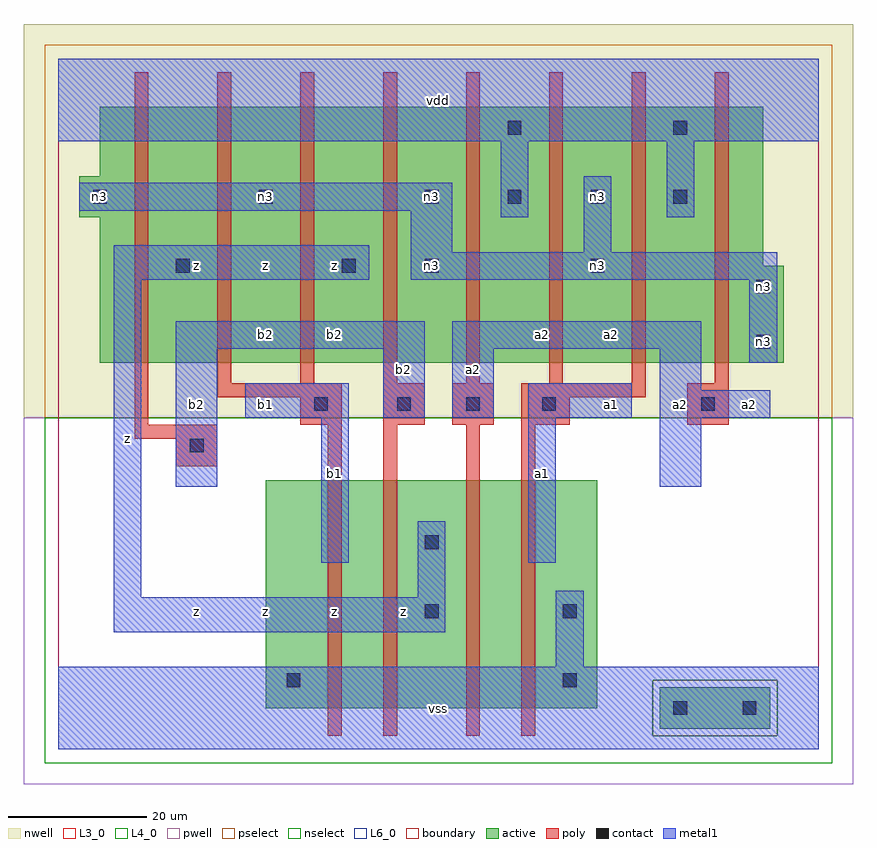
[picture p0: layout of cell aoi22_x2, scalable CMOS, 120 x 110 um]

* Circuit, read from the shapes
.subckt aoi22_x2 a1 a2 b1 b2 n3 vdd vss z
M1 n1 b1 vss vss nfet w=33u l=2u
M2 z b2 n1 vss nfet w=33u l=2u
M3 n2 a2 z vss nfet w=33u l=2u
M4 vss a1 n2 vss nfet w=33u l=2u
M5 z b2 n3 n4 pfet w=37u l=2u m=2
M6 n3 b1 z n4 pfet w=37u l=2u m=2
M7 vdd a2 n3 n4 pfet w=37u l=2u m=2
M8 n3 a1 vdd n4 pfet w=37u l=2u m=2
.ends

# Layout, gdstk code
import gdstk
lib = gdstk.Library(unit=1e-6, precision=1e-09)
def R(c, l, rs):  # rectangles x0, y0, x1, y1
    for r in rs: c.add(gdstk.rectangle(r[:2], r[2:], *l))
def A(c, l, x, y, w, h, nx, ny, dx, dy):  # array of equal rectangles
    R(c, l, [(x+i*dx, y+j*dy, x+i*dx+w, y+j*dy+h) for i in range(nx) for j in range(ny)])
L3_0 = (3, 0)
L4_0 = (4, 0)
L6_0 = (6, 0)
contact = (25, 0)
pwell = (41, 0)
nwell = (42, 0)
active = (43, 0)
pselect = (44, 0)
nselect = (45, 0)
poly = (46, 0)
metal1 = (49, 0)
boundary = (63, 0)

aoi22_x2 = lib.new_cell('aoi22_x2')
R(aoi22_x2, L3_0, [(30,6,78,39)])
R(aoi22_x2, L4_0, [(6,56,105,70), (6,70,102,77), (3,77,102,83), (6,83,102,93)])
R(aoi22_x2, L6_0, [(87,3,103,9)])
A(aoi22_x2, contact, 5, 79, 2, 2, 3, 1, 24, 0)
A(aoi22_x2, contact, 65, 79, 2, 2, 3, 1, 12, 0)
R(aoi22_x2, contact, [(89,5,91,7), (99,5,101,7), (33,9,35,11), (73,9,75,11), (53,19,55,21), (73,19,75,21), (53,29,55,31), (19,43,21,45), (37,49,39,51), (49,49,51,51), (59,49,61,51), (70,49,72,51), (93,49,95,51), (101,58,103,60), (101,66,103,68), (17,69,19,71), (41,69,43,71), (53,69,55,71), (77,69,79,71), (65,89,67,91), (89,89,91,91)])
R(aoi22_x2, pwell, [(-5,-5,115,48)])
R(aoi22_x2, nwell, [(-5,48,115,105)])
R(aoi22_x2, active, [(87,3,103,9), (30,6,78,39), (6,56,105,70), (6,70,102,77), (3,77,102,83), (6,83,102,93)])
R(aoi22_x2, pselect, [(86,2,104,10), (-2,48,112,102)])
R(aoi22_x2, nselect, [(-2,-2,112,2), (-2,2,86,10), (104,2,112,10), (-2,10,112,48)])
A(aoi22_x2, poly, 23, 53, 2, 45, 7, 1, 12, 0)
R(aoi22_x2, poly, [(39,2,41,47), (47,2,49,47), (59,2,61,47), (67,2,69,47), (17,41,23,45), (11,45,23,47), (11,47,13,98), (35,47,41,51), (47,47,53,53), (57,47,63,53), (67,47,74,51), (91,47,97,53), (23,51,41,53), (67,51,85,53)])
R(aoi22_x2, metal1, [(0,0,110,12), (72,12,76,23), (8,17,56,22), (8,22,12,68), (52,22,56,33), (38,27,42,48), (68,27,72,48), (17,38,23,58), (87,38,93,48), (27,48,42,53), (47,48,53,58), (57,48,63,58), (68,48,83,53), (87,48,103,52), (87,52,93,58), (100,56,104,68), (17,58,53,62), (57,58,93,62), (8,68,45,73), (51,68,104,72), (51,72,57,78), (76,72,80,83), (64,77,68,88), (88,77,92,88), (3,78,57,82), (0,88,110,100)])
R(aoi22_x2, boundary, [(0,0,110,100)])
aoi22_x2.add(gdstk.Label('n3', (6,80), layer=49, texttype=0))
aoi22_x2.add(gdstk.Label('n3', (30,80), layer=49, texttype=0))
aoi22_x2.add(gdstk.Label('n3', (54,70), layer=49, texttype=0))
aoi22_x2.add(gdstk.Label('n3', (54,80), layer=49, texttype=0))
aoi22_x2.add(gdstk.Label('n3', (102,67), layer=49, texttype=0))
aoi22_x2.add(gdstk.Label('n3', (102,59), layer=49, texttype=0))
aoi22_x2.add(gdstk.Label('n3', (78,70), layer=49, texttype=0))
aoi22_x2.add(gdstk.Label('n3', (78,80), layer=49, texttype=0))
aoi22_x2.add(gdstk.Label('z', (10,45), layer=49, texttype=0))
aoi22_x2.add(gdstk.Label('z', (40,20), layer=49, texttype=0))
aoi22_x2.add(gdstk.Label('z', (30,20), layer=49, texttype=0))
aoi22_x2.add(gdstk.Label('z', (20,20), layer=49, texttype=0))
aoi22_x2.add(gdstk.Label('b1', (40,40), layer=49, texttype=0))
aoi22_x2.add(gdstk.Label('b2', (20,50), layer=49, texttype=0))
aoi22_x2.add(gdstk.Label('b1', (30,50), layer=49, texttype=0))
aoi22_x2.add(gdstk.Label('b2', (40,60), layer=49, texttype=0))
aoi22_x2.add(gdstk.Label('b2', (30,60), layer=49, texttype=0))
aoi22_x2.add(gdstk.Label('z', (20,70), layer=49, texttype=0))
aoi22_x2.add(gdstk.Label('z', (40,70), layer=49, texttype=0))
aoi22_x2.add(gdstk.Label('z', (30,70), layer=49, texttype=0))
aoi22_x2.add(gdstk.Label('vss', (55,6), layer=49, texttype=0))
aoi22_x2.add(gdstk.Label('z', (50,20), layer=49, texttype=0))
aoi22_x2.add(gdstk.Label('b2', (50,55), layer=49, texttype=0))
aoi22_x2.add(gdstk.Label('a2', (60,55), layer=49, texttype=0))
aoi22_x2.add(gdstk.Label('vdd', (55,94), layer=49, texttype=0))
aoi22_x2.add(gdstk.Label('a1', (70,40), layer=49, texttype=0))
aoi22_x2.add(gdstk.Label('a1', (80,50), layer=49, texttype=0))
aoi22_x2.add(gdstk.Label('a2', (80,60), layer=49, texttype=0))
aoi22_x2.add(gdstk.Label('a2', (70,60), layer=49, texttype=0))
aoi22_x2.add(gdstk.Label('a2', (90,50), layer=49, texttype=0))
aoi22_x2.add(gdstk.Label('a2', (100,50), layer=49, texttype=0))

lib.write_gds('aoi22_x2.gds')
